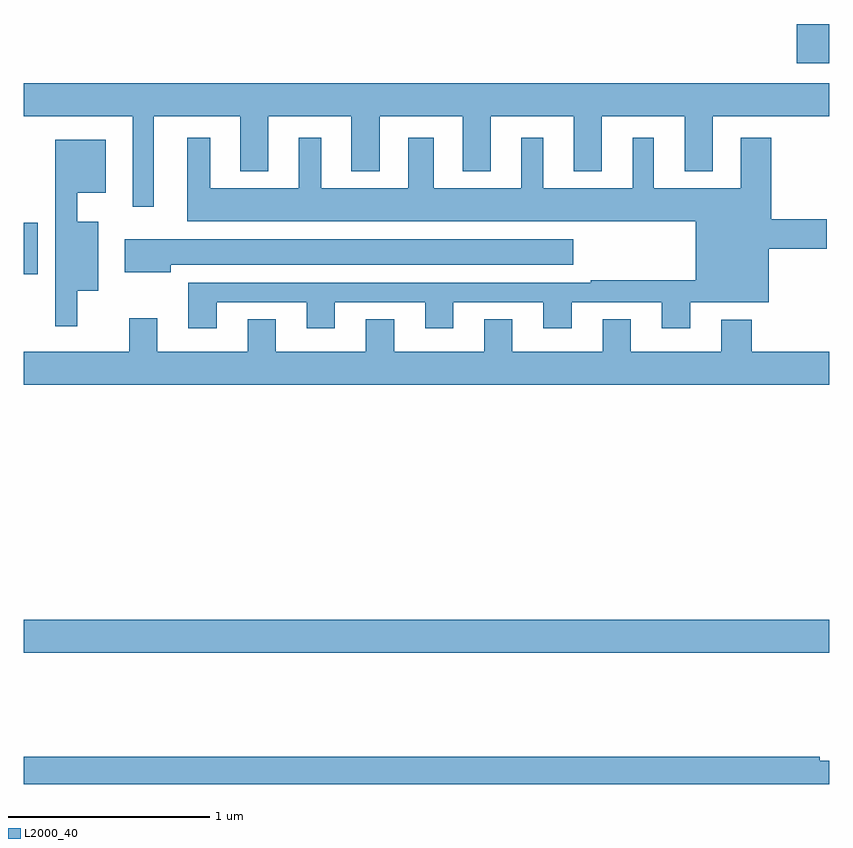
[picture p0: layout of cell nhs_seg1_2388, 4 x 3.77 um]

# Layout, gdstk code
import gdstk
lib = gdstk.Library(unit=1e-6, precision=1e-09)
def R(c, l, rs):  # rectangles x0, y0, x1, y1
    for r in rs: c.add(gdstk.rectangle(r[:2], r[2:], *l))
def P(c, l, *ps):  # polygons
    for p in ps: c.add(gdstk.Polygon(p, *l))
L2000_40 = (2000, 40)

nhs_seg1_2388 = lib.new_cell('nhs_seg1_2388')
R(nhs_seg1_2388, L2000_40, [(241,541.076,245,541.24), (241,542.957,241.069,543.211), (244.838,544.005,245,544.199)])
P(nhs_seg1_2388, L2000_40, [(241.645,543.74),(242.075,543.74),(242.075,543.467),(242.215,543.467),(242.215,543.74),(242.627,543.74),(242.627,543.467),(242.767,543.467),(242.767,543.74),(243.179,543.74),(243.179,543.467),(243.319,543.467),(243.319,543.74),(243.731,543.74),(243.731,543.467),(243.871,543.467),(243.871,543.74),(244.283,543.74),(244.283,543.467),(244.423,543.467),(244.423,543.74),(245,543.74),(245,543.904),(241,543.904),(241,543.74),(241.541,543.74),(241.541,543.291),(241.645,543.291)],
  [(241.957,542.817),(242.405,542.817),(242.405,542.688),(242.545,542.688),(242.545,542.817),(242.993,542.817),(242.993,542.688),(243.133,542.688),(243.133,542.817),(243.581,542.817),(243.581,542.688),(243.721,542.688),(243.721,542.817),(244.169,542.817),(244.169,542.688),(244.309,542.688),(244.309,542.816),(244.699,542.816),(244.699,543.083),(244.987,543.083),(244.987,543.23),(244.712,543.23),(244.712,543.634),(244.562,543.634),(244.562,543.382),(244.129,543.382),(244.129,543.634),(244.025,543.634),(244.025,543.382),(243.58,543.382),(243.58,543.634),(243.47,543.634),(243.47,543.382),(243.037,543.382),(243.037,543.634),(242.909,543.634),(242.909,543.382),(242.476,543.382),(242.476,543.634),(242.366,543.634),(242.366,543.382),(241.927,543.382),(241.927,543.634),(241.811,543.634),(241.811,543.218),(244.337,543.218),(244.337,542.926),(243.817,542.926),(243.817,542.913),(241.817,542.913),(241.817,542.688),(241.957,542.688)],
  [(241.264,542.873),(241.369,542.873),(241.369,543.217),(241.264,543.217),(241.264,543.362),(241.408,543.362),(241.408,543.625),(241.157,543.625),(241.157,542.697),(241.264,542.697)],
  [(241.729,543.002),(243.73,543.002),(243.73,543.13),(241.5,543.13),(241.5,542.966),(241.729,542.966)],
  [(245,542.572),(244.616,542.572),(244.616,542.731),(244.463,542.731),(244.463,542.572),(244.015,542.572),(244.015,542.732),(243.875,542.732),(243.875,542.572),(243.427,542.572),(243.427,542.732),(243.287,542.732),(243.287,542.572),(242.839,542.572),(242.839,542.732),(242.699,542.732),(242.699,542.572),(242.251,542.572),(242.251,542.732),(242.111,542.732),(242.111,542.572),(241.663,542.572),(241.663,542.737),(241.523,542.737),(241.523,542.572),(241,542.572),(241,542.408),(245,542.408)],
  [(245,540.54),(244.954,540.54),(244.954,540.56),(241,540.56),(241,540.424),(245,540.424)])

lib.write_gds('nhs_seg1_2388.gds')
